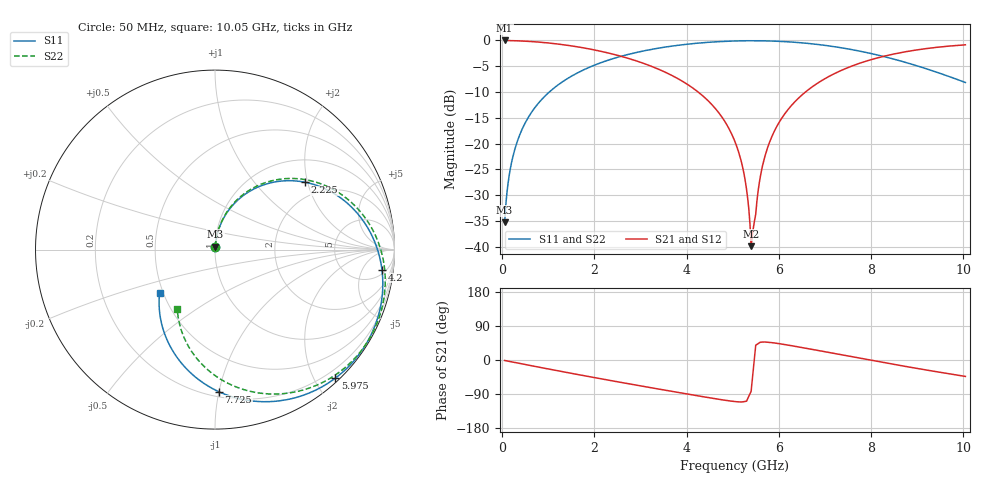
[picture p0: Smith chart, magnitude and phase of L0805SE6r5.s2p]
! AVX Thin Film Operation		Date: May 2002
! Description: Accu-L® Series, Thin Film, SMD, RF Inductors
! Part Number: L08056R5CEWTR
! 50 MHz  -  10.05 GHz
! Serial Measurements
# mhz S db R 50
!	S11		S21		S12		S22
!	dB	Phase	dB	Phase	dB	Phase	dB	Phase
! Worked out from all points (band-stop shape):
!   401 points, 50 MHz to 10.05 GHz, reference 50 ohm
!   highest |S21| = -0.01 dB at 50 MHz (marker M1); lowest = -39.9 dB at 5.4 GHz (marker M2)
!   |S21| within 3 dB of the highest: start of sweep to 2.549 GHz; 8.31 GHz to end of sweep
!   lowest |S11| = -35.3 dB at 50 MHz (marker M3), VSWR 1.04, Z = 50.1 + j1.72 ohm
!   |S11| at or under -10 dB: start of sweep to 1.02 GHz
!   |S22| runs from -35.3 to -0.1 dB; largest |S21 - S12| = 0
!   S11 on the Smith chart (normalised r, x): 50 MHz: 1.00, +0.03; 2.225 GHz: 1.56, +1.94; 4.2 GHz: 7, -13; 5.975 GHz: 0.06, -2.30; 7.725 GHz: 0.23, -1.00; 10.05 GHz: 0.48, -0.27
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50  -35.28 85.7  -0.01 -1.3  -0.01 -1.3  -35.28 85.7
150  -26.14 83.9  -0.03 -3.7  -0.03 -3.7  -26.14 84.0
225  -22.70 82.4  -0.05 -5.5  -0.05 -5.5  -22.70 82.6
525  -15.52 75.8  -0.16 -12.6  -0.16 -12.6  -15.52 76.2
1025  -9.96 64.2  -0.52 -24.3  -0.52 -24.3  -9.96 65.0
1725  -5.87 48.0  -1.39 -40.3  -1.39 -40.3  -5.87 49.5
2225  -4.05 36.7  -2.28 -51.4  -2.28 -51.4  -4.05 38.6
3400  -1.48 10.7  -5.62 -76.8  -5.62 -76.8  -1.48 13.7
4200  -0.57 -6.8  -9.66 -93.6  -9.66 -93.6  -0.56 -3.0
4700  -0.24 -17.9  -14.04 -103.7  -14.04 -103.7  -0.24 -13.4
5050  -0.11 -25.7  -19.64 -109.7  -19.64 -109.7  -0.11 -20.8
5250  -0.07 -30.2  -26.06 -109.8  -26.06 -109.8  -0.07 -25.1
5400  -0.06 -33.7  -39.87 -82.6  -39.87 -82.6  -0.06 -28.3
5450  -0.06 -34.8  -36.23 -21.7  -36.23 -21.7  -0.06 -29.4
5575  -0.07 -37.7  -27.73 45.0  -27.73 45.0  -0.07 -32.1
5675  -0.08 -40.0  -23.27 47.4  -23.27 47.4  -0.08 -34.2
5975  -0.17 -46.9  -16.38 43.7  -16.38 43.7  -0.16 -40.7
6725  -0.66 -64.6  -9.00 28.0  -9.00 28.0  -0.66 -57.1
7725  -2.02 -88.4  -4.52 5.5  -4.52 5.5  -2.01 -78.8
8400  -3.40 -104.3  -2.82 -9.4  -2.82 -9.4  -3.38 -92.7
9200  -5.49 -122.8  -1.58 -26.4  -1.58 -26.4  -5.46 -108.0
10050  -8.15 -142.1  -0.85 -43.3  -0.85 -43.3  -8.10 -122.2
